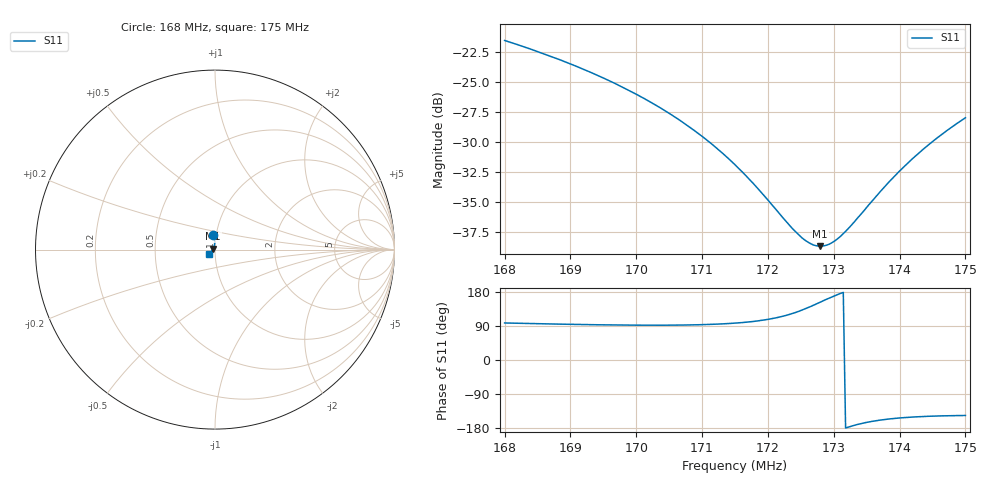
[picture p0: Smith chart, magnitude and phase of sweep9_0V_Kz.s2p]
!Agilent Technologies,E8364B,US42250162,A.07.50.67
!Agilent E8364B: A.07.50.67
!Date: Friday, June 23, 2023 16:28:22
!Correction: S11(Off)
!S21(Off)
!S12(Off)
!S22(Off)
!S2P File: Measurements: S11, S21, S12, S22:
# Hz S  RI  R 50
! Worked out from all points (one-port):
!   201 points, 168 MHz to 175 MHz, reference 50 ohm
!   lowest |S11| = -38.7 dB at 172.79 MHz (marker M1), VSWR 1.02, Z = 49 + j0.523 ohm
!   |S11| at or under -10 dB: start of sweep to end of sweep
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1.68e8  -0.0112 0.0829  7.07e-11 7.07e-11  7.07e-11 7.07e-11  7.07e-11 7.07e-11
1.68665e8  -0.00658 0.0722  7.07e-11 7.07e-11  7.07e-11 7.07e-11  7.07e-11 7.07e-11
1.6919e8  -0.00395 0.0634  7.07e-11 7.07e-11  7.07e-11 7.07e-11  7.07e-11 7.07e-11
1.6982e8  -0.00199 0.0529  7.07e-11 7.07e-11  7.07e-11 7.07e-11  7.07e-11 7.07e-11
1.70345e8  -0.00137 0.0441  7.07e-11 7.07e-11  7.07e-11 7.07e-11  7.07e-11 7.07e-11
1.7066e8  -0.00145 0.0389  7.07e-11 7.07e-11  7.07e-11 7.07e-11  7.07e-11 7.07e-11
1.70975e8  -0.00184 0.0337  7.07e-11 7.07e-11  7.07e-11 7.07e-11  7.07e-11 7.07e-11
1.7129e8  -0.00256 0.0285  7.07e-11 7.07e-11  7.07e-11 7.07e-11  7.07e-11 7.07e-11
1.715e8  -0.00321 0.0251  7.07e-11 7.07e-11  7.07e-11 7.07e-11  7.07e-11 7.07e-11
1.71815e8  -0.00446 0.0201  7.07e-11 7.07e-11  7.07e-11 7.07e-11  7.07e-11 7.07e-11
1.72375e8  -0.00744 0.0115  7.07e-11 7.07e-11  7.07e-11 7.07e-11  7.07e-11 7.07e-11
1.7255e8  -0.00856 0.00889  7.07e-11 7.07e-11  7.07e-11 7.07e-11  7.07e-11 7.07e-11
1.7269e8  -0.00953 0.00682  7.07e-11 7.07e-11  7.07e-11 7.07e-11  7.07e-11 7.07e-11
1.72795e8  -0.0103 0.00533  7.07e-11 7.07e-11  7.07e-11 7.07e-11  7.07e-11 7.07e-11
1.72935e8  -0.0113 0.00333  7.07e-11 7.07e-11  7.07e-11 7.07e-11  7.07e-11 7.07e-11
1.7311e8  -0.0128 0.000862  7.07e-11 7.07e-11  7.07e-11 7.07e-11  7.07e-11 7.07e-11
1.73285e8  -0.0143 -0.00155  7.07e-11 7.07e-11  7.07e-11 7.07e-11  7.07e-11 7.07e-11
1.73845e8  -0.0196 -0.00893  7.07e-11 7.07e-11  7.07e-11 7.07e-11  7.07e-11 7.07e-11
1.7416e8  -0.023 -0.0128  7.07e-11 7.07e-11  7.07e-11 7.07e-11  7.07e-11 7.07e-11
1.74335e8  -0.025 -0.0149  7.07e-11 7.07e-11  7.07e-11 7.07e-11  7.07e-11 7.07e-11
1.7465e8  -0.0287 -0.0184  7.07e-11 7.07e-11  7.07e-11 7.07e-11  7.07e-11 7.07e-11
1.75e8  -0.0331 -0.022  7.07e-11 7.07e-11  7.07e-11 7.07e-11  7.07e-11 7.07e-11
